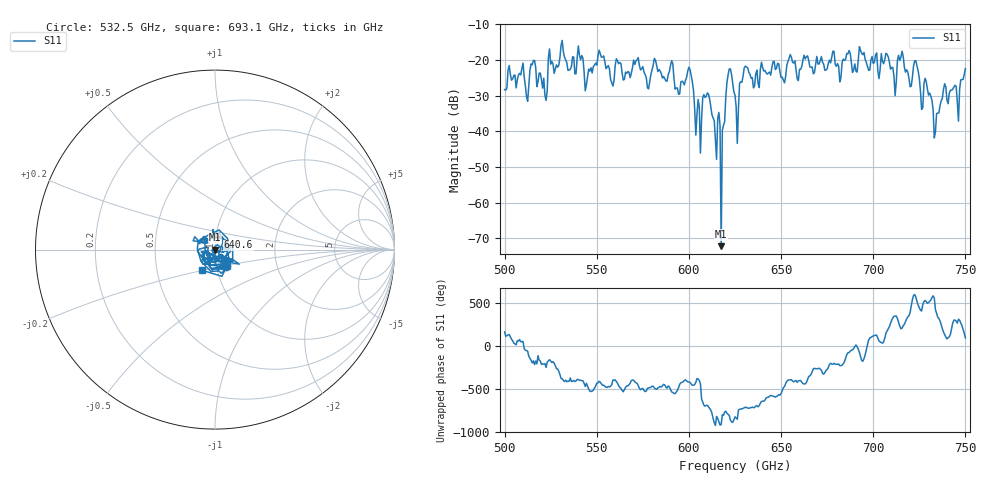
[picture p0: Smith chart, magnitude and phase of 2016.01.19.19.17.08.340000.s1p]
!Created with skrf (http://scikit-rf.org).
# GHz S RI R 50.0
!freq ReS11 ImS11
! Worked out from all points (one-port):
!   401 points, 500 GHz to 750 GHz, reference 50 ohm
!   lowest |S11| = -72.2 dB at 617.5 GHz (marker M1), VSWR 1.00, Z = 50 + j0.00732 ohm
!   |S11| at or under -10 dB: start of sweep to end of sweep
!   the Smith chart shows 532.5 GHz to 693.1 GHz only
!   S11 on the Smith chart (normalised r, x): 532.5 GHz: 1.12, -0.20; 640.6 GHz: 1.02, +0.14; 693.1 GHz: 0.84, -0.20
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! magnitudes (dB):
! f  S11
! 500 GHz  -28.3
! 508.8 GHz  -24.2
! 511.9 GHz  -30.3
! 515.6 GHz  -20.1
! 521.9 GHz  -30.0
! 525 GHz  -21.2
! 531.2 GHz  -14.5
! 532.5 GHz  -19.2
! 544.4 GHz  -26.9
! 562.5 GHz  -20.7
! 590 GHz  -21.6
! 593.8 GHz  -27.8
! 600.6 GHz  -22.7
! 605 GHz  -31.1
! 610 GHz  -29.2
! 617.5 GHz  -72.2
! 621.9 GHz  -22.5
! 625 GHz  -29.8
! 630.6 GHz  -21.7
! 640.6 GHz  -23.1
! 656.2 GHz  -20.7
! 687.5 GHz  -18.1
! 693.1 GHz  -17.3
! 718.8 GHz  -23.4
! 723.1 GHz  -20.2
! 734.4 GHz  -35.0
! 738.1 GHz  -28.2
! 750 GHz  -22.4
